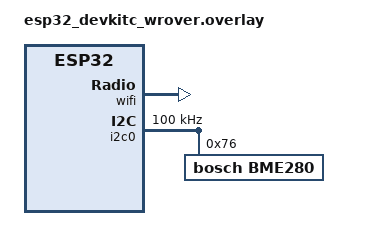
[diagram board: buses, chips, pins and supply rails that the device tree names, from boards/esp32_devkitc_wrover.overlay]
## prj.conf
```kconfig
# Copyright (c) 2023-2024 Golioth, Inc.
# SPDX-License-Identifier: Apache-2.0

# Enable Golioth Firmware SDK
CONFIG_GOLIOTH_FIRMWARE_SDK=y

# Golioth services used in this app
CONFIG_LOG_BACKEND_GOLIOTH=y
CONFIG_GOLIOTH_SETTINGS=y
CONFIG_GOLIOTH_STREAM=y

# Enable common sample library
CONFIG_GOLIOTH_SAMPLE_COMMON=y

# Application
CONFIG_MAIN_STACK_SIZE=4096

# Enable Golioth runtime credentials
CONFIG_FLASH=y
CONFIG_FLASH_MAP=y
CONFIG_NVS=y

CONFIG_SETTINGS=y
CONFIG_SETTINGS_RUNTIME=y
CONFIG_GOLIOTH_SAMPLE_PSK_SETTINGS=y
CONFIG_GOLIOTH_SAMPLE_SETTINGS_AUTOLOAD=y
CONFIG_GOLIOTH_SAMPLE_SETTINGS_SHELL=y

# Enable I2C and shell support
CONFIG_SHELL=y
CONFIG_I2C=y
CONFIG_SENSOR=y
CONFIG_I2C_SHELL=y
```

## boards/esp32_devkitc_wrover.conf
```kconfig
CONFIG_WIFI=y
CONFIG_HEAP_MEM_POOL_SIZE=49152

CONFIG_NET_L2_ETHERNET=y

CONFIG_NEWLIB_LIBC=y

CONFIG_NET_DHCPV4=y

CONFIG_MBEDTLS_ENTROPY_ENABLED=y
CONFIG_MBEDTLS_KEY_EXCHANGE_ECDHE_ECDSA_ENABLED=y
CONFIG_MBEDTLS_ECP_ALL_ENABLED=y

CONFIG_ESP32_WIFI_STA_AUTO_DHCPV4=y
CONFIG_GOLIOTH_SAMPLE_WIFI_SETTINGS=y

CONFIG_NET_L2_WIFI_SHELL=y
CONFIG_GOLIOTH_SAMPLE_WIFI=y
```

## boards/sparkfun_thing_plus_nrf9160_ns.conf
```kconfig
#
# Copyright (c) 2021-2024 Golioth, Inc.
#
# SPDX-License-Identifier: Apache-2.0

# General config
CONFIG_HEAP_MEM_POOL_SIZE=4096
CONFIG_NEWLIB_LIBC=y

# Networking
CONFIG_NET_SOCKETS_OFFLOAD=y
CONFIG_NET_IPV6=y
CONFIG_NET_IPV6_NBR_CACHE=n
CONFIG_NET_IPV6_MLD=n

# Increase native TLS socket implementation, so that it is chosen instead of
# offloaded nRF91 sockets
CONFIG_NET_SOCKETS_TLS_PRIORITY=35

# Modem library
CONFIG_NRF_MODEM_LIB=y
CONFIG_NRF_MODEM_LIB_ON_FAULT_APPLICATION_SPECIFIC=y

# LTE connectivity with network connection manager
CONFIG_LTE_CONNECTIVITY=y
CONFIG_NET_CONNECTION_MANAGER=y
CONFIG_NET_CONNECTION_MANAGER_MONITOR_STACK_SIZE=1024

# Increased sysworkq size, due to LTE connectivity
CONFIG_SYSTEM_WORKQUEUE_STACK_SIZE=2048

# Disable options y-selected by NCS for no good reason
CONFIG_MBEDTLS_KEY_EXCHANGE_DHE_PSK_ENABLED=n
CONFIG_MBEDTLS_KEY_EXCHANGE_DHE_RSA_ENABLED=n
```

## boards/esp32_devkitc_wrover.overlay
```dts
&wifi {
	status = "okay";
};

/ {
    aliases {
        weather = &bme280;
    };
};

&i2c0 {
	status = "okay";
	clock-frequency = <I2C_BITRATE_STANDARD>;
	pinctrl-0 = <&i2c0_default>;

	bme280: bme280@76 {
		status = "okay";
		compatible = "bosch,bme280";
		reg = <0x76>;
	};
};

&pinctrl {
	i2c0_default: i2c0_default {
		group1 {
			pinmux = <I2C0_SDA_GPIO23>,
				 <I2C0_SCL_GPIO22>;
		};
	};
};
```

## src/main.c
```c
/*
 * Copyright (c) 2023 Golioth, Inc.
 *
 * SPDX-License-Identifier: Apache-2.0
 */

#include <zephyr/logging/log.h>
LOG_MODULE_REGISTER(golioth_temperature, LOG_LEVEL_DBG);

#include <golioth/client.h>
#include <golioth/settings.h>
#include <golioth/stream.h>
#include <samples/common/net_connect.h>
#include <samples/common/sample_credentials.h>

#include <zephyr/drivers/sensor.h>
#include <stdlib.h>

#define JSON_FMT "{\"hum\":\"%.6f\",\"pre\":\"%.6f\",\"tem\":\"%.6f\"}"
#define LOOP_DELAY_S_MAX 60
#define LOOP_DELAY_S_MIN 0
static int32_t _loop_delay_s = 5;

static struct golioth_client *client;
static K_SEM_DEFINE(connected, 0, 1);
static k_tid_t _system_thread = 0;

void wake_system_thread(void)
{
	k_wakeup(_system_thread);
}

static enum golioth_settings_status on_loop_delay_setting(int32_t new_value, void *arg)
{
	_loop_delay_s = new_value;
	LOG_INF("Set loop delay to %i seconds", new_value);
	wake_system_thread();
	return GOLIOTH_SETTINGS_SUCCESS;
}

static void on_client_event(struct golioth_client *client,
			    enum golioth_client_event event,
			    void *arg)
{
	bool is_connected = (event == GOLIOTH_CLIENT_EVENT_CONNECTED);

	if (is_connected) {
		k_sem_give(&connected);
	}
	LOG_INF("Golioth client %s", is_connected ? "connected" : "disconnected");
}

static void async_handler(struct golioth_client *client,
				const struct golioth_response *response,
				const char *path,
				void *arg)
{
	if (response->status != GOLIOTH_OK) {
		LOG_ERR("Failed to send temperature to Golioth: %d", response->status);
		return;
	}
}

int main(void)
{
	int err;
	struct sensor_value hum, pre, tem;
	char sbuf[64];

	_system_thread = k_current_get();

	if (IS_ENABLED(CONFIG_GOLIOTH_SAMPLE_COMMON)) {
		net_connect();
	}

	const struct golioth_client_config *client_config = golioth_sample_credentials_get();
	client = golioth_client_create(client_config);
	golioth_client_register_event_callback(client, on_client_event, NULL);

	k_sem_take(&connected, K_FOREVER);

	struct golioth_settings *settings = golioth_settings_init(client);
	err = golioth_settings_register_int_with_range(settings,
						       "LOOP_DELAY_S",
						       LOOP_DELAY_S_MIN,
						       LOOP_DELAY_S_MAX,
						       on_loop_delay_setting,
						       NULL);

	if (err) {
		LOG_ERR("Failed to register settings callback: %d", err);
	}

	const struct device *weather_dev = DEVICE_DT_GET(DT_ALIAS(weather));

	if (weather_dev == NULL) {
		LOG_ERR("Error: no sensor found.");
	}

	if (!device_is_ready(weather_dev)) {
		LOG_ERR("Error: Sensor %s is not ready;"
			"check the driver initialization logs for errors.",
			weather_dev->name);
	} else {
		LOG_INF("Found sensor: %s", weather_dev->name);
	}

	while (true) {
		sensor_sample_fetch(weather_dev);
		sensor_channel_get(weather_dev, SENSOR_CHAN_HUMIDITY, &hum);
		sensor_channel_get(weather_dev, SENSOR_CHAN_PRESS, &pre);
		sensor_channel_get(weather_dev, SENSOR_CHAN_AMBIENT_TEMP, &tem);

		snprintk(sbuf,
		         sizeof(sbuf),
			 JSON_FMT,
			 sensor_value_to_double(&hum),
			 sensor_value_to_double(&pre),
			 sensor_value_to_double(&tem)
			);
		LOG_DBG("Sending temperature %s", sbuf);

		err = golioth_stream_set_async(client,
					      "env",
					      GOLIOTH_CONTENT_TYPE_JSON,
					      sbuf,
					      strlen(sbuf),
					      async_handler,
					      NULL);

		if (err) {
			LOG_WRN("Failed to stream temperature: %d", err);
		}

		k_sleep(K_SECONDS(_loop_delay_s));
	}
}
```
